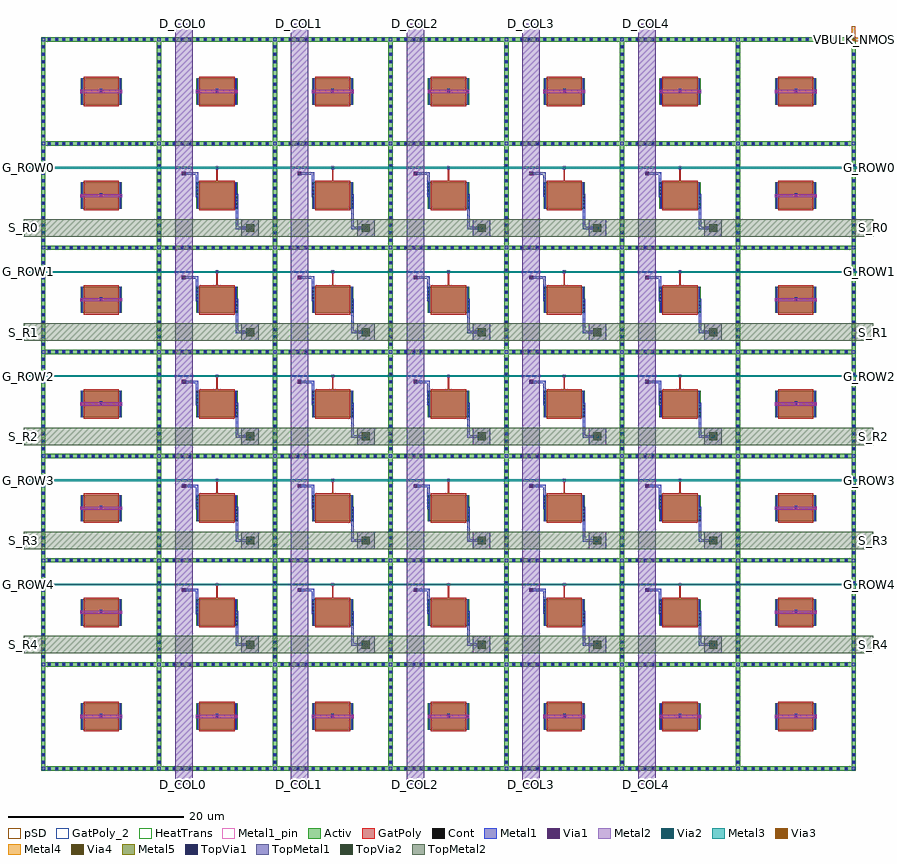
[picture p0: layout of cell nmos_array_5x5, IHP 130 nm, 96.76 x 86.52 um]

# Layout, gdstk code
import gdstk
lib = gdstk.Library(unit=1e-6, precision=1e-09)
def R(c, l, rs):  # rectangles x0, y0, x1, y1
    for r in rs: c.add(gdstk.rectangle(r[:2], r[2:], *l))
def A(c, l, x, y, w, h, nx, ny, dx, dy):  # array of equal rectangles
    R(c, l, [(x+i*dx, y+j*dy, x+i*dx+w, y+j*dy+h) for i in range(nx) for j in range(ny)])
Activ = (1, 0)
GatPoly = (5, 0)
GatPoly_2 = (5, 2)
Cont = (6, 0)
Metal1 = (8, 0)
Metal1_pin = (8, 2)
Metal2 = (10, 0)
pSD = (14, 0)
Via1 = (19, 0)
Via2 = (29, 0)
Metal3 = (30, 0)
Via3 = (49, 0)
Metal4 = (50, 0)
HeatTrans = (51, 0)
Via4 = (66, 0)
Metal5 = (67, 0)
TopVia1 = (125, 0)
TopMetal1 = (126, 0)
TopVia2 = (133, 0)
TopMetal2 = (134, 0)

nmos = lib.new_cell('nmos')
R(nmos, Activ, [(0,0,0.3,0.3), (0,0,4.68,3), (4.38,0,4.68,0.3)])
R(nmos, GatPoly, [(0.34,-0.18,4.34,3.18)])
R(nmos, GatPoly_2, [(0.34,-0.18,4.34,3.18)])
A(nmos, Cont, 0.07, 0.07, 0.16, 0.16, 1, 7, 0, 0.385)
A(nmos, Cont, 4.45, 0.07, 0.16, 0.16, 1, 7, 0, 0.385)
R(nmos, Cont, [(0.07,2.77,0.23,2.93), (4.45,2.77,4.61,2.93)])
R(nmos, Metal1, [(0.07,0,0.23,3), (4.45,0,4.61,3)])
R(nmos, Metal1_pin, [(0.07,0,0.23,3), (4.45,0,4.61,3)])
R(nmos, HeatTrans, [(0.34,-0.18,4.34,3.18)])
nmos.add(gdstk.Label('nmos', (2.34,1.5), layer=63, texttype=0))
nmos.add(gdstk.Label('nmos', (2.34,1.5), layer=51, texttype=0))

nmos_array_5x5 = lib.new_cell('nmos_array_5x5')
A(nmos_array_5x5, Activ, 0, 0, 0.5, 83.52, 8, 1, 13.18, 0)
A(nmos_array_5x5, Activ, 0, 0, 92.76, 0.5, 1, 8, 0, 11.86)
A(nmos_array_5x5, GatPoly, 6.775, 6.18, 0.13, 0.3, 7, 2, 13.18, 71.16)
A(nmos_array_5x5, GatPoly, 6.775, 18.04, 0.13, 0.3, 1, 5, 0, 11.86)
A(nmos_array_5x5, GatPoly, 85.855, 18.04, 0.13, 0.3, 1, 5, 0, 11.86)
A(nmos_array_5x5, GatPoly, 19.955, 19.72, 0.13, 1.5, 5, 5, 13.18, 11.86)
A(nmos_array_5x5, Cont, 0.83, 0.14, 0.22, 0.22, 3, 8, 0.831, 11.86)
A(nmos_array_5x5, Cont, 3.322, 0.14, 0.22, 0.22, 3, 8, 0.831, 11.86)
A(nmos_array_5x5, Cont, 5.814, 0.14, 0.22, 0.22, 3, 8, 0.831, 11.86)
A(nmos_array_5x5, Cont, 8.306, 0.14, 0.22, 0.22, 3, 8, 0.831, 11.86)
A(nmos_array_5x5, Cont, 10.798, 0.14, 0.22, 0.22, 3, 8, 0.831, 11.86)
A(nmos_array_5x5, Cont, 14.18, 0.14, 0.22, 0.22, 1, 8, 0, 11.86)
A(nmos_array_5x5, Cont, 15.061, 0.14, 0.22, 0.22, 1, 8, 0, 11.86)
A(nmos_array_5x5, Cont, 15.943, 0.14, 0.22, 0.22, 1, 8, 0, 11.86)
A(nmos_array_5x5, Cont, 16.824, 0.14, 0.22, 0.22, 1, 8, 0, 11.86)
A(nmos_array_5x5, Cont, 17.706, 0.14, 0.22, 0.22, 1, 8, 0, 11.86)
A(nmos_array_5x5, Cont, 18.587, 0.14, 0.22, 0.22, 1, 8, 0, 11.86)
A(nmos_array_5x5, Cont, 19.469, 0.14, 0.22, 0.22, 1, 8, 0, 11.86)
A(nmos_array_5x5, Cont, 20.35, 0.14, 0.22, 0.22, 1, 8, 0, 11.86)
A(nmos_array_5x5, Cont, 21.232, 0.14, 0.22, 0.22, 1, 8, 0, 11.86)
A(nmos_array_5x5, Cont, 22.113, 0.14, 0.22, 0.22, 1, 8, 0, 11.86)
A(nmos_array_5x5, Cont, 22.995, 0.14, 0.22, 0.22, 1, 8, 0, 11.86)
A(nmos_array_5x5, Cont, 23.876, 0.14, 0.22, 0.22, 3, 8, 0.882, 11.86)
A(nmos_array_5x5, Cont, 27.36, 0.14, 0.22, 0.22, 1, 8, 0, 11.86)
A(nmos_array_5x5, Cont, 28.241, 0.14, 0.22, 0.22, 1, 8, 0, 11.86)
A(nmos_array_5x5, Cont, 29.123, 0.14, 0.22, 0.22, 1, 8, 0, 11.86)
A(nmos_array_5x5, Cont, 30.004, 0.14, 0.22, 0.22, 1, 8, 0, 11.86)
A(nmos_array_5x5, Cont, 30.886, 0.14, 0.22, 0.22, 1, 8, 0, 11.86)
A(nmos_array_5x5, Cont, 31.767, 0.14, 0.22, 0.22, 1, 8, 0, 11.86)
A(nmos_array_5x5, Cont, 32.649, 0.14, 0.22, 0.22, 1, 8, 0, 11.86)
A(nmos_array_5x5, Cont, 33.53, 0.14, 0.22, 0.22, 1, 8, 0, 11.86)
A(nmos_array_5x5, Cont, 34.412, 0.14, 0.22, 0.22, 1, 8, 0, 11.86)
A(nmos_array_5x5, Cont, 35.293, 0.14, 0.22, 0.22, 1, 8, 0, 11.86)
A(nmos_array_5x5, Cont, 36.175, 0.14, 0.22, 0.22, 1, 8, 0, 11.86)
A(nmos_array_5x5, Cont, 37.056, 0.14, 0.22, 0.22, 3, 8, 0.882, 11.86)
A(nmos_array_5x5, Cont, 40.54, 0.14, 0.22, 0.22, 1, 8, 0, 11.86)
A(nmos_array_5x5, Cont, 41.421, 0.14, 0.22, 0.22, 1, 8, 0, 11.86)
A(nmos_array_5x5, Cont, 42.303, 0.14, 0.22, 0.22, 1, 8, 0, 11.86)
A(nmos_array_5x5, Cont, 43.184, 0.14, 0.22, 0.22, 1, 8, 0, 11.86)
A(nmos_array_5x5, Cont, 44.066, 0.14, 0.22, 0.22, 1, 8, 0, 11.86)
A(nmos_array_5x5, Cont, 44.947, 0.14, 0.22, 0.22, 1, 8, 0, 11.86)
A(nmos_array_5x5, Cont, 45.829, 0.14, 0.22, 0.22, 1, 8, 0, 11.86)
A(nmos_array_5x5, Cont, 46.71, 0.14, 0.22, 0.22, 1, 8, 0, 11.86)
A(nmos_array_5x5, Cont, 47.592, 0.14, 0.22, 0.22, 1, 8, 0, 11.86)
A(nmos_array_5x5, Cont, 48.473, 0.14, 0.22, 0.22, 1, 8, 0, 11.86)
A(nmos_array_5x5, Cont, 49.355, 0.14, 0.22, 0.22, 1, 8, 0, 11.86)
A(nmos_array_5x5, Cont, 50.236, 0.14, 0.22, 0.22, 3, 8, 0.882, 11.86)
A(nmos_array_5x5, Cont, 53.72, 0.14, 0.22, 0.22, 1, 8, 0, 11.86)
A(nmos_array_5x5, Cont, 54.601, 0.14, 0.22, 0.22, 1, 8, 0, 11.86)
A(nmos_array_5x5, Cont, 55.483, 0.14, 0.22, 0.22, 1, 8, 0, 11.86)
A(nmos_array_5x5, Cont, 56.364, 0.14, 0.22, 0.22, 1, 8, 0, 11.86)
A(nmos_array_5x5, Cont, 57.246, 0.14, 0.22, 0.22, 1, 8, 0, 11.86)
A(nmos_array_5x5, Cont, 58.127, 0.14, 0.22, 0.22, 1, 8, 0, 11.86)
A(nmos_array_5x5, Cont, 59.009, 0.14, 0.22, 0.22, 1, 8, 0, 11.86)
A(nmos_array_5x5, Cont, 59.89, 0.14, 0.22, 0.22, 1, 8, 0, 11.86)
A(nmos_array_5x5, Cont, 60.772, 0.14, 0.22, 0.22, 1, 8, 0, 11.86)
A(nmos_array_5x5, Cont, 61.653, 0.14, 0.22, 0.22, 1, 8, 0, 11.86)
A(nmos_array_5x5, Cont, 62.535, 0.14, 0.22, 0.22, 1, 8, 0, 11.86)
A(nmos_array_5x5, Cont, 63.416, 0.14, 0.22, 0.22, 3, 8, 0.882, 11.86)
A(nmos_array_5x5, Cont, 66.9, 0.14, 0.22, 0.22, 1, 8, 0, 11.86)
A(nmos_array_5x5, Cont, 67.781, 0.14, 0.22, 0.22, 1, 8, 0, 11.86)
A(nmos_array_5x5, Cont, 68.663, 0.14, 0.22, 0.22, 1, 8, 0, 11.86)
A(nmos_array_5x5, Cont, 69.544, 0.14, 0.22, 0.22, 1, 8, 0, 11.86)
A(nmos_array_5x5, Cont, 70.426, 0.14, 0.22, 0.22, 1, 8, 0, 11.86)
A(nmos_array_5x5, Cont, 71.307, 0.14, 0.22, 0.22, 1, 8, 0, 11.86)
A(nmos_array_5x5, Cont, 72.189, 0.14, 0.22, 0.22, 1, 8, 0, 11.86)
A(nmos_array_5x5, Cont, 73.07, 0.14, 0.22, 0.22, 1, 8, 0, 11.86)
A(nmos_array_5x5, Cont, 73.952, 0.14, 0.22, 0.22, 1, 8, 0, 11.86)
A(nmos_array_5x5, Cont, 74.833, 0.14, 0.22, 0.22, 1, 8, 0, 11.86)
A(nmos_array_5x5, Cont, 75.715, 0.14, 0.22, 0.22, 1, 8, 0, 11.86)
A(nmos_array_5x5, Cont, 76.596, 0.14, 0.22, 0.22, 3, 8, 0.882, 11.86)
A(nmos_array_5x5, Cont, 80.08, 0.14, 0.22, 0.22, 1, 8, 0, 11.86)
A(nmos_array_5x5, Cont, 80.961, 0.14, 0.22, 0.22, 1, 8, 0, 11.86)
A(nmos_array_5x5, Cont, 81.843, 0.14, 0.22, 0.22, 1, 8, 0, 11.86)
A(nmos_array_5x5, Cont, 82.724, 0.14, 0.22, 0.22, 1, 8, 0, 11.86)
A(nmos_array_5x5, Cont, 83.606, 0.14, 0.22, 0.22, 1, 8, 0, 11.86)
A(nmos_array_5x5, Cont, 84.487, 0.14, 0.22, 0.22, 1, 8, 0, 11.86)
A(nmos_array_5x5, Cont, 85.369, 0.14, 0.22, 0.22, 1, 8, 0, 11.86)
A(nmos_array_5x5, Cont, 86.25, 0.14, 0.22, 0.22, 1, 8, 0, 11.86)
A(nmos_array_5x5, Cont, 87.132, 0.14, 0.22, 0.22, 1, 8, 0, 11.86)
A(nmos_array_5x5, Cont, 88.013, 0.14, 0.22, 0.22, 1, 8, 0, 11.86)
A(nmos_array_5x5, Cont, 88.895, 0.14, 0.22, 0.22, 1, 8, 0, 11.86)
A(nmos_array_5x5, Cont, 89.776, 0.14, 0.22, 0.22, 3, 8, 0.882, 11.86)
A(nmos_array_5x5, Cont, 0.14, 0.856, 0.22, 0.22, 8, 13, 13.18, 0.857)
A(nmos_array_5x5, Cont, 6.73, 6.26, 0.22, 0.22, 7, 2, 13.18, 71.16)
A(nmos_array_5x5, Cont, 0.14, 12.86, 0.22, 0.22, 8, 13, 13.18, 0.845)
A(nmos_array_5x5, Cont, 6.73, 18.12, 0.22, 0.22, 1, 5, 0, 11.86)
A(nmos_array_5x5, Cont, 85.81, 18.12, 0.22, 0.22, 1, 5, 0, 11.86)
A(nmos_array_5x5, Cont, 19.91, 21.11, 0.22, 0.22, 5, 5, 13.18, 11.86)
A(nmos_array_5x5, Cont, 0.14, 24.72, 0.22, 0.22, 8, 13, 13.18, 0.845)
A(nmos_array_5x5, Cont, 0.14, 36.58, 0.22, 0.22, 8, 13, 13.18, 0.845)
A(nmos_array_5x5, Cont, 0.14, 48.44, 0.22, 0.22, 8, 13, 13.18, 0.845)
A(nmos_array_5x5, Cont, 0.14, 60.3, 0.22, 0.22, 8, 13, 13.18, 0.845)
A(nmos_array_5x5, Cont, 0.14, 72.16, 0.22, 0.22, 8, 13, 13.18, 0.845)
A(nmos_array_5x5, Metal1, 0.05, 0.05, 0.4, 0.4, 8, 8, 13.18, 11.86)
A(nmos_array_5x5, Metal1, 0.77, 0.08, 0.34, 0.34, 3, 8, 0.831, 11.86)
A(nmos_array_5x5, Metal1, 3.262, 0.08, 0.34, 0.34, 3, 8, 0.831, 11.86)
A(nmos_array_5x5, Metal1, 5.754, 0.08, 0.34, 0.34, 3, 8, 0.831, 11.86)
A(nmos_array_5x5, Metal1, 8.246, 0.08, 0.34, 0.34, 3, 8, 0.831, 11.86)
A(nmos_array_5x5, Metal1, 10.738, 0.08, 0.34, 0.34, 3, 8, 0.831, 11.86)
A(nmos_array_5x5, Metal1, 14.12, 0.08, 0.34, 0.34, 1, 8, 0, 11.86)
A(nmos_array_5x5, Metal1, 15.001, 0.08, 0.34, 0.34, 1, 8, 0, 11.86)
A(nmos_array_5x5, Metal1, 15.883, 0.08, 0.34, 0.34, 1, 8, 0, 11.86)
A(nmos_array_5x5, Metal1, 16.764, 0.08, 0.34, 0.34, 1, 8, 0, 11.86)
A(nmos_array_5x5, Metal1, 17.646, 0.08, 0.34, 0.34, 1, 8, 0, 11.86)
A(nmos_array_5x5, Metal1, 18.527, 0.08, 0.34, 0.34, 1, 8, 0, 11.86)
A(nmos_array_5x5, Metal1, 19.409, 0.08, 0.34, 0.34, 1, 8, 0, 11.86)
A(nmos_array_5x5, Metal1, 20.29, 0.08, 0.34, 0.34, 1, 8, 0, 11.86)
A(nmos_array_5x5, Metal1, 21.172, 0.08, 0.34, 0.34, 1, 8, 0, 11.86)
A(nmos_array_5x5, Metal1, 22.053, 0.08, 0.34, 0.34, 1, 8, 0, 11.86)
A(nmos_array_5x5, Metal1, 22.935, 0.08, 0.34, 0.34, 1, 8, 0, 11.86)
A(nmos_array_5x5, Metal1, 23.816, 0.08, 0.34, 0.34, 3, 8, 0.882, 11.86)
A(nmos_array_5x5, Metal1, 27.3, 0.08, 0.34, 0.34, 1, 8, 0, 11.86)
A(nmos_array_5x5, Metal1, 28.181, 0.08, 0.34, 0.34, 1, 8, 0, 11.86)
A(nmos_array_5x5, Metal1, 29.063, 0.08, 0.34, 0.34, 1, 8, 0, 11.86)
A(nmos_array_5x5, Metal1, 29.944, 0.08, 0.34, 0.34, 1, 8, 0, 11.86)
A(nmos_array_5x5, Metal1, 30.826, 0.08, 0.34, 0.34, 1, 8, 0, 11.86)
A(nmos_array_5x5, Metal1, 31.707, 0.08, 0.34, 0.34, 1, 8, 0, 11.86)
A(nmos_array_5x5, Metal1, 32.589, 0.08, 0.34, 0.34, 1, 8, 0, 11.86)
A(nmos_array_5x5, Metal1, 33.47, 0.08, 0.34, 0.34, 1, 8, 0, 11.86)
A(nmos_array_5x5, Metal1, 34.352, 0.08, 0.34, 0.34, 1, 8, 0, 11.86)
A(nmos_array_5x5, Metal1, 35.233, 0.08, 0.34, 0.34, 1, 8, 0, 11.86)
A(nmos_array_5x5, Metal1, 36.115, 0.08, 0.34, 0.34, 1, 8, 0, 11.86)
A(nmos_array_5x5, Metal1, 36.996, 0.08, 0.34, 0.34, 3, 8, 0.882, 11.86)
A(nmos_array_5x5, Metal1, 40.48, 0.08, 0.34, 0.34, 1, 8, 0, 11.86)
A(nmos_array_5x5, Metal1, 41.361, 0.08, 0.34, 0.34, 1, 8, 0, 11.86)
A(nmos_array_5x5, Metal1, 42.243, 0.08, 0.34, 0.34, 1, 8, 0, 11.86)
A(nmos_array_5x5, Metal1, 43.124, 0.08, 0.34, 0.34, 1, 8, 0, 11.86)
A(nmos_array_5x5, Metal1, 44.006, 0.08, 0.34, 0.34, 1, 8, 0, 11.86)
A(nmos_array_5x5, Metal1, 44.887, 0.08, 0.34, 0.34, 1, 8, 0, 11.86)
A(nmos_array_5x5, Metal1, 45.769, 0.08, 0.34, 0.34, 1, 8, 0, 11.86)
A(nmos_array_5x5, Metal1, 46.65, 0.08, 0.34, 0.34, 1, 8, 0, 11.86)
A(nmos_array_5x5, Metal1, 47.532, 0.08, 0.34, 0.34, 1, 8, 0, 11.86)
A(nmos_array_5x5, Metal1, 48.413, 0.08, 0.34, 0.34, 1, 8, 0, 11.86)
A(nmos_array_5x5, Metal1, 49.295, 0.08, 0.34, 0.34, 1, 8, 0, 11.86)
A(nmos_array_5x5, Metal1, 50.176, 0.08, 0.34, 0.34, 3, 8, 0.882, 11.86)
A(nmos_array_5x5, Metal1, 53.66, 0.08, 0.34, 0.34, 1, 8, 0, 11.86)
A(nmos_array_5x5, Metal1, 54.541, 0.08, 0.34, 0.34, 1, 8, 0, 11.86)
A(nmos_array_5x5, Metal1, 55.423, 0.08, 0.34, 0.34, 1, 8, 0, 11.86)
A(nmos_array_5x5, Metal1, 56.304, 0.08, 0.34, 0.34, 1, 8, 0, 11.86)
A(nmos_array_5x5, Metal1, 57.186, 0.08, 0.34, 0.34, 1, 8, 0, 11.86)
A(nmos_array_5x5, Metal1, 58.067, 0.08, 0.34, 0.34, 1, 8, 0, 11.86)
A(nmos_array_5x5, Metal1, 58.949, 0.08, 0.34, 0.34, 1, 8, 0, 11.86)
A(nmos_array_5x5, Metal1, 59.83, 0.08, 0.34, 0.34, 1, 8, 0, 11.86)
A(nmos_array_5x5, Metal1, 60.712, 0.08, 0.34, 0.34, 1, 8, 0, 11.86)
A(nmos_array_5x5, Metal1, 61.593, 0.08, 0.34, 0.34, 1, 8, 0, 11.86)
A(nmos_array_5x5, Metal1, 62.475, 0.08, 0.34, 0.34, 1, 8, 0, 11.86)
A(nmos_array_5x5, Metal1, 63.356, 0.08, 0.34, 0.34, 3, 8, 0.882, 11.86)
A(nmos_array_5x5, Metal1, 66.84, 0.08, 0.34, 0.34, 1, 8, 0, 11.86)
A(nmos_array_5x5, Metal1, 67.721, 0.08, 0.34, 0.34, 1, 8, 0, 11.86)
A(nmos_array_5x5, Metal1, 68.603, 0.08, 0.34, 0.34, 1, 8, 0, 11.86)
A(nmos_array_5x5, Metal1, 69.484, 0.08, 0.34, 0.34, 1, 8, 0, 11.86)
A(nmos_array_5x5, Metal1, 70.366, 0.08, 0.34, 0.34, 1, 8, 0, 11.86)
A(nmos_array_5x5, Metal1, 71.247, 0.08, 0.34, 0.34, 1, 8, 0, 11.86)
A(nmos_array_5x5, Metal1, 72.129, 0.08, 0.34, 0.34, 1, 8, 0, 11.86)
A(nmos_array_5x5, Metal1, 73.01, 0.08, 0.34, 0.34, 1, 8, 0, 11.86)
A(nmos_array_5x5, Metal1, 73.892, 0.08, 0.34, 0.34, 1, 8, 0, 11.86)
A(nmos_array_5x5, Metal1, 74.773, 0.08, 0.34, 0.34, 1, 8, 0, 11.86)
A(nmos_array_5x5, Metal1, 75.655, 0.08, 0.34, 0.34, 1, 8, 0, 11.86)
A(nmos_array_5x5, Metal1, 76.536, 0.08, 0.34, 0.34, 3, 8, 0.882, 11.86)
A(nmos_array_5x5, Metal1, 80.02, 0.08, 0.34, 0.34, 1, 8, 0, 11.86)
A(nmos_array_5x5, Metal1, 80.901, 0.08, 0.34, 0.34, 1, 8, 0, 11.86)
A(nmos_array_5x5, Metal1, 81.783, 0.08, 0.34, 0.34, 1, 8, 0, 11.86)
A(nmos_array_5x5, Metal1, 82.664, 0.08, 0.34, 0.34, 1, 8, 0, 11.86)
A(nmos_array_5x5, Metal1, 83.546, 0.08, 0.34, 0.34, 1, 8, 0, 11.86)
A(nmos_array_5x5, Metal1, 84.427, 0.08, 0.34, 0.34, 1, 8, 0, 11.86)
A(nmos_array_5x5, Metal1, 85.309, 0.08, 0.34, 0.34, 1, 8, 0, 11.86)
A(nmos_array_5x5, Metal1, 86.19, 0.08, 0.34, 0.34, 1, 8, 0, 11.86)
A(nmos_array_5x5, Metal1, 87.072, 0.08, 0.34, 0.34, 1, 8, 0, 11.86)
A(nmos_array_5x5, Metal1, 87.953, 0.08, 0.34, 0.34, 1, 8, 0, 11.86)
A(nmos_array_5x5, Metal1, 88.835, 0.08, 0.34, 0.34, 1, 8, 0, 11.86)
A(nmos_array_5x5, Metal1, 89.716, 0.08, 0.34, 0.34, 3, 8, 0.882, 11.86)
A(nmos_array_5x5, Metal1, 0.08, 0.796, 0.34, 0.34, 8, 13, 13.18, 0.857)
A(nmos_array_5x5, Metal1, 6.7, 6, 0.28, 0.48, 7, 2, 13.18, 71.16)
A(nmos_array_5x5, Metal1, 0.08, 12.8, 0.34, 0.34, 8, 13, 13.18, 0.845)
A(nmos_array_5x5, Metal1, 22.15, 14.22, 0.28, 3.96, 5, 5, 13.18, 11.86)
A(nmos_array_5x5, Metal1, 22.15, 14.22, 1.78, 0.28, 5, 5, 13.18, 11.86)
A(nmos_array_5x5, Metal1, 6.7, 17.86, 0.28, 0.48, 1, 5, 0, 11.86)
A(nmos_array_5x5, Metal1, 85.78, 17.86, 0.28, 0.48, 1, 5, 0, 11.86)
A(nmos_array_5x5, Metal1, 17.61, 17.9, 0.28, 2.81, 5, 5, 13.18, 11.86)
A(nmos_array_5x5, Metal1, 16.11, 20.43, 1.78, 0.28, 5, 5, 13.18, 11.86)
A(nmos_array_5x5, Metal1, 19.86, 21.06, 0.32, 0.32, 5, 5, 13.18, 11.86)
A(nmos_array_5x5, Metal1, 0.08, 24.66, 0.34, 0.34, 8, 13, 13.18, 0.845)
A(nmos_array_5x5, Metal1, 0.08, 36.52, 0.34, 0.34, 8, 13, 13.18, 0.845)
A(nmos_array_5x5, Metal1, 0.08, 48.38, 0.34, 0.34, 8, 13, 13.18, 0.845)
A(nmos_array_5x5, Metal1, 0.08, 60.24, 0.34, 0.34, 8, 13, 13.18, 0.845)
A(nmos_array_5x5, Metal1, 0.08, 72.1, 0.34, 0.34, 8, 13, 13.18, 0.845)
A(nmos_array_5x5, Metal2, 4.45, 6, 4.78, 0.36, 7, 2, 13.18, 71.16)
A(nmos_array_5x5, Metal2, 23.635, 14.205, 0.31, 0.31, 5, 5, 13.18, 11.86)
A(nmos_array_5x5, Metal2, 4.45, 17.86, 4.78, 0.36, 1, 5, 0, 11.86)
A(nmos_array_5x5, Metal2, 83.53, 17.86, 4.78, 0.36, 1, 5, 0, 11.86)
A(nmos_array_5x5, Metal2, 16.095, 20.415, 0.31, 0.31, 5, 5, 13.18, 11.86)
A(nmos_array_5x5, Metal2, 19.875, 21.075, 0.29, 0.29, 5, 5, 13.18, 11.86)
R(nmos_array_5x5, Metal2, [(92.33,83.09,92.69,83.45)])
A(nmos_array_5x5, pSD, 0, 0, 0.5, 83.52, 8, 1, 13.18, 0)
A(nmos_array_5x5, pSD, 0, 0, 92.76, 0.5, 1, 8, 0, 11.86)
A(nmos_array_5x5, Via1, 4.555, 6.085, 0.19, 0.19, 3, 7, 2.19, 11.86)
A(nmos_array_5x5, Via1, 17.735, 6.085, 0.19, 0.19, 3, 2, 2.19, 71.16)
A(nmos_array_5x5, Via1, 30.915, 6.085, 0.19, 0.19, 3, 2, 2.19, 71.16)
A(nmos_array_5x5, Via1, 44.095, 6.085, 0.19, 0.19, 3, 2, 2.19, 71.16)
A(nmos_array_5x5, Via1, 57.275, 6.085, 0.19, 0.19, 3, 2, 2.19, 71.16)
A(nmos_array_5x5, Via1, 70.455, 6.085, 0.19, 0.19, 3, 2, 2.19, 71.16)
A(nmos_array_5x5, Via1, 83.635, 6.085, 0.19, 0.19, 3, 7, 2.19, 11.86)
A(nmos_array_5x5, Via1, 23.695, 14.265, 0.19, 0.19, 5, 5, 13.18, 11.86)
A(nmos_array_5x5, Via1, 16.155, 20.475, 0.19, 0.19, 5, 5, 13.18, 11.86)
A(nmos_array_5x5, Via1, 19.925, 21.125, 0.19, 0.19, 5, 5, 13.18, 11.86)
R(nmos_array_5x5, Via1, [(92.415,83.175,92.605,83.365)])
A(nmos_array_5x5, Via2, 23.695, 14.265, 0.19, 0.19, 5, 5, 13.18, 11.86)
A(nmos_array_5x5, Via2, 16.155, 20.475, 0.19, 0.19, 5, 5, 13.18, 11.86)
A(nmos_array_5x5, Via2, 19.925, 21.125, 0.19, 0.19, 5, 5, 13.18, 11.86)
R(nmos_array_5x5, Via2, [(92.415,83.175,92.605,83.365)])
A(nmos_array_5x5, Metal3, 23.635, 14.205, 0.31, 0.31, 5, 5, 13.18, 11.86)
A(nmos_array_5x5, Metal3, 16.095, 20.415, 0.31, 0.31, 5, 5, 13.18, 11.86)
A(nmos_array_5x5, Metal3, -1.6, 21.12, 95.96, 0.2, 1, 5, 0, 11.86)
A(nmos_array_5x5, Metal3, 19.92, 21.12, 0.2, 0.2, 5, 5, 13.18, 11.86)
R(nmos_array_5x5, Metal3, [(92.41,83.17,92.61,83.37)])
A(nmos_array_5x5, Via3, 23.695, 14.265, 0.19, 0.19, 5, 5, 13.18, 11.86)
A(nmos_array_5x5, Via3, 16.155, 20.475, 0.19, 0.19, 5, 5, 13.18, 11.86)
R(nmos_array_5x5, Via3, [(92.415,83.175,92.605,83.365)])
A(nmos_array_5x5, Metal4, 23.635, 14.205, 0.31, 0.31, 5, 5, 13.18, 11.86)
A(nmos_array_5x5, Metal4, 16.095, 20.415, 0.31, 0.31, 5, 5, 13.18, 11.86)
R(nmos_array_5x5, Metal4, [(92.31,83.07,94.01,83.47), (92.31,83.07,92.71,84.77)])
A(nmos_array_5x5, Via4, 23.695, 14.265, 0.19, 0.19, 5, 5, 13.18, 11.86)
A(nmos_array_5x5, Via4, 16.155, 20.475, 0.19, 0.19, 5, 5, 13.18, 11.86)
A(nmos_array_5x5, Metal5, 23.635, 14.205, 0.31, 0.31, 5, 5, 13.18, 11.86)
A(nmos_array_5x5, Metal5, 16.095, 20.415, 0.31, 0.31, 5, 5, 13.18, 11.86)
A(nmos_array_5x5, TopVia1, 23.58, 14.15, 0.42, 0.42, 5, 5, 13.18, 11.86)
A(nmos_array_5x5, TopVia1, 16.04, 20.36, 0.42, 0.42, 5, 5, 13.18, 11.86)
A(nmos_array_5x5, TopMetal1, 15.25, -1.5, 2, 86.52, 5, 1, 13.18, 0)
A(nmos_array_5x5, TopMetal1, 22.79, 13.36, 2, 2, 5, 5, 13.18, 11.86)
A(nmos_array_5x5, TopMetal1, 15.25, 19.57, 2, 2, 5, 5, 13.18, 11.86)
A(nmos_array_5x5, TopVia2, 23.34, 13.91, 0.9, 0.9, 5, 5, 13.18, 11.86)
A(nmos_array_5x5, TopMetal2, -2, 13.36, 96.76, 2, 1, 5, 0, 11.86)
A(nmos_array_5x5, TopMetal2, 22.79, 13.36, 2, 2, 5, 5, 13.18, 11.86)
nmos_array_5x5.add(gdstk.Reference(nmos, (4.5,4.68)))
nmos_array_5x5.add(gdstk.Reference(nmos, (17.68,4.68)))
nmos_array_5x5.add(gdstk.Reference(nmos, (30.86,4.68)))
nmos_array_5x5.add(gdstk.Reference(nmos, (44.04,4.68)))
nmos_array_5x5.add(gdstk.Reference(nmos, (57.22,4.68)))
nmos_array_5x5.add(gdstk.Reference(nmos, (70.4,4.68)))
nmos_array_5x5.add(gdstk.Reference(nmos, (83.58,4.68)))
nmos_array_5x5.add(gdstk.Reference(nmos, (4.5,16.54)))
nmos_array_5x5.add(gdstk.Reference(nmos, (17.68,16.54)))
nmos_array_5x5.add(gdstk.Reference(nmos, (30.86,16.54)))
nmos_array_5x5.add(gdstk.Reference(nmos, (44.04,16.54)))
nmos_array_5x5.add(gdstk.Reference(nmos, (57.22,16.54)))
nmos_array_5x5.add(gdstk.Reference(nmos, (70.4,16.54)))
nmos_array_5x5.add(gdstk.Reference(nmos, (83.58,16.54)))
nmos_array_5x5.add(gdstk.Reference(nmos, (4.5,28.4)))
nmos_array_5x5.add(gdstk.Reference(nmos, (17.68,28.4)))
nmos_array_5x5.add(gdstk.Reference(nmos, (30.86,28.4)))
nmos_array_5x5.add(gdstk.Reference(nmos, (44.04,28.4)))
nmos_array_5x5.add(gdstk.Reference(nmos, (57.22,28.4)))
nmos_array_5x5.add(gdstk.Reference(nmos, (70.4,28.4)))
nmos_array_5x5.add(gdstk.Reference(nmos, (83.58,28.4)))
nmos_array_5x5.add(gdstk.Reference(nmos, (4.5,40.26)))
nmos_array_5x5.add(gdstk.Reference(nmos, (17.68,40.26)))
nmos_array_5x5.add(gdstk.Reference(nmos, (30.86,40.26)))
nmos_array_5x5.add(gdstk.Reference(nmos, (44.04,40.26)))
nmos_array_5x5.add(gdstk.Reference(nmos, (57.22,40.26)))
nmos_array_5x5.add(gdstk.Reference(nmos, (70.4,40.26)))
nmos_array_5x5.add(gdstk.Reference(nmos, (83.58,40.26)))
nmos_array_5x5.add(gdstk.Reference(nmos, (4.5,52.12)))
nmos_array_5x5.add(gdstk.Reference(nmos, (17.68,52.12)))
nmos_array_5x5.add(gdstk.Reference(nmos, (30.86,52.12)))
nmos_array_5x5.add(gdstk.Reference(nmos, (44.04,52.12)))
nmos_array_5x5.add(gdstk.Reference(nmos, (57.22,52.12)))
nmos_array_5x5.add(gdstk.Reference(nmos, (70.4,52.12)))
nmos_array_5x5.add(gdstk.Reference(nmos, (83.58,52.12)))
nmos_array_5x5.add(gdstk.Reference(nmos, (4.5,63.98)))
nmos_array_5x5.add(gdstk.Reference(nmos, (17.68,63.98)))
nmos_array_5x5.add(gdstk.Reference(nmos, (30.86,63.98)))
nmos_array_5x5.add(gdstk.Reference(nmos, (44.04,63.98)))
nmos_array_5x5.add(gdstk.Reference(nmos, (57.22,63.98)))
nmos_array_5x5.add(gdstk.Reference(nmos, (70.4,63.98)))
nmos_array_5x5.add(gdstk.Reference(nmos, (83.58,63.98)))
nmos_array_5x5.add(gdstk.Reference(nmos, (4.5,75.84)))
nmos_array_5x5.add(gdstk.Reference(nmos, (17.68,75.84)))
nmos_array_5x5.add(gdstk.Reference(nmos, (30.86,75.84)))
nmos_array_5x5.add(gdstk.Reference(nmos, (44.04,75.84)))
nmos_array_5x5.add(gdstk.Reference(nmos, (57.22,75.84)))
nmos_array_5x5.add(gdstk.Reference(nmos, (70.4,75.84)))
nmos_array_5x5.add(gdstk.Reference(nmos, (83.58,75.84)))
nmos_array_5x5.add(gdstk.Label('VBULK_NMOS', (94.01,83.27), layer=63, texttype=0))
nmos_array_5x5.add(gdstk.Label('VBULK_NMOS', (92.51,84.77), layer=63, texttype=0))
nmos_array_5x5.add(gdstk.Label('G_ROW4', (-1.5,21.22), layer=63, texttype=0))
nmos_array_5x5.add(gdstk.Label('G_ROW4', (94.26,21.22), layer=63, texttype=0))
nmos_array_5x5.add(gdstk.Label('G_ROW3', (-1.5,33.08), layer=63, texttype=0))
nmos_array_5x5.add(gdstk.Label('G_ROW3', (94.26,33.08), layer=63, texttype=0))
nmos_array_5x5.add(gdstk.Label('G_ROW2', (-1.5,44.94), layer=63, texttype=0))
nmos_array_5x5.add(gdstk.Label('G_ROW2', (94.26,44.94), layer=63, texttype=0))
nmos_array_5x5.add(gdstk.Label('G_ROW1', (-1.5,56.8), layer=63, texttype=0))
nmos_array_5x5.add(gdstk.Label('G_ROW1', (94.26,56.8), layer=63, texttype=0))
nmos_array_5x5.add(gdstk.Label('G_ROW0', (-1.5,68.66), layer=63, texttype=0))
nmos_array_5x5.add(gdstk.Label('G_ROW0', (94.26,68.66), layer=63, texttype=0))
nmos_array_5x5.add(gdstk.Label('D_COL0', (16.25,-1.5), layer=63, texttype=0))
nmos_array_5x5.add(gdstk.Label('D_COL0', (16.25,85.02), layer=63, texttype=0))
nmos_array_5x5.add(gdstk.Label('D_COL1', (29.43,-1.5), layer=63, texttype=0))
nmos_array_5x5.add(gdstk.Label('D_COL1', (29.43,85.02), layer=63, texttype=0))
nmos_array_5x5.add(gdstk.Label('D_COL2', (42.61,-1.5), layer=63, texttype=0))
nmos_array_5x5.add(gdstk.Label('D_COL2', (42.61,85.02), layer=63, texttype=0))
nmos_array_5x5.add(gdstk.Label('D_COL3', (55.79,-1.5), layer=63, texttype=0))
nmos_array_5x5.add(gdstk.Label('D_COL3', (55.79,85.02), layer=63, texttype=0))
nmos_array_5x5.add(gdstk.Label('D_COL4', (68.97,-1.5), layer=63, texttype=0))
nmos_array_5x5.add(gdstk.Label('D_COL4', (68.97,85.02), layer=63, texttype=0))
nmos_array_5x5.add(gdstk.Label('S_R4', (-2,14.36), layer=63, texttype=0))
nmos_array_5x5.add(gdstk.Label('S_R4', (94.76,14.36), layer=63, texttype=0))
nmos_array_5x5.add(gdstk.Label('S_R3', (-2,26.22), layer=63, texttype=0))
nmos_array_5x5.add(gdstk.Label('S_R3', (94.76,26.22), layer=63, texttype=0))
nmos_array_5x5.add(gdstk.Label('S_R2', (-2,38.08), layer=63, texttype=0))
nmos_array_5x5.add(gdstk.Label('S_R2', (94.76,38.08), layer=63, texttype=0))
nmos_array_5x5.add(gdstk.Label('S_R1', (-2,49.94), layer=63, texttype=0))
nmos_array_5x5.add(gdstk.Label('S_R1', (94.76,49.94), layer=63, texttype=0))
nmos_array_5x5.add(gdstk.Label('S_R0', (-2,61.8), layer=63, texttype=0))
nmos_array_5x5.add(gdstk.Label('S_R0', (94.76,61.8), layer=63, texttype=0))

lib.write_gds('nmos_array_5x5.gds')
